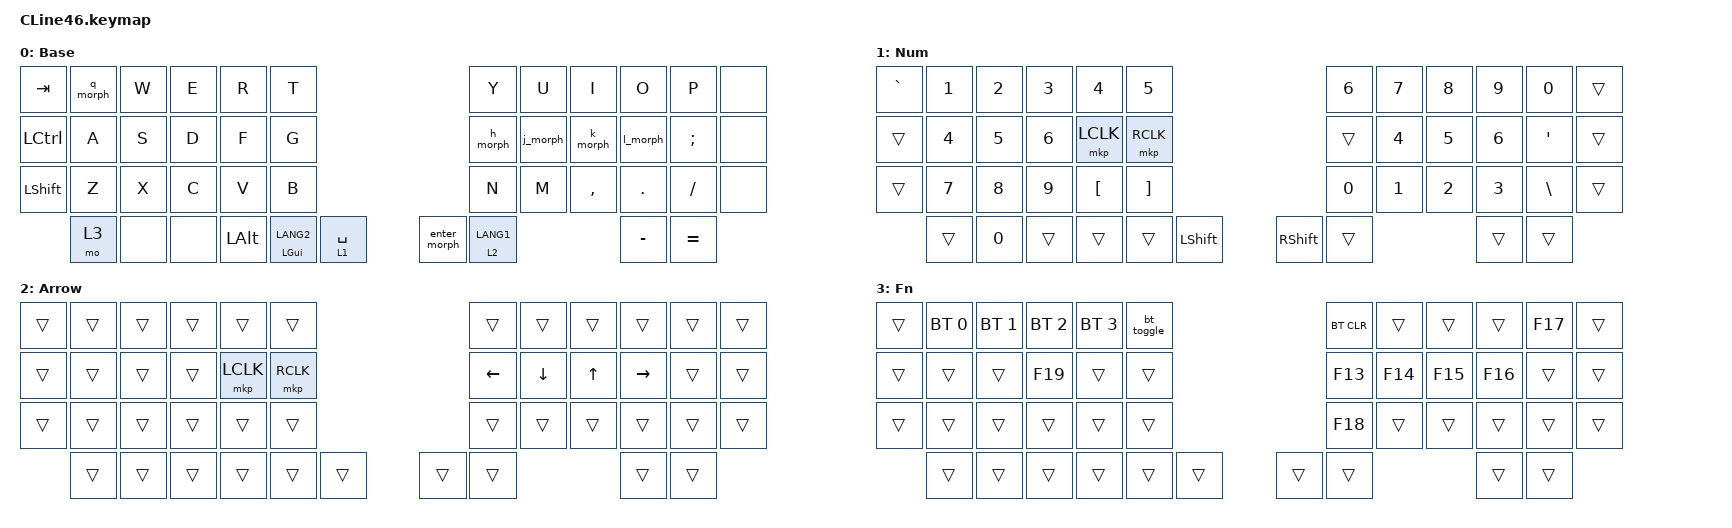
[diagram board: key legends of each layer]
#include <behaviors.dtsi>
#include <dt-bindings/zmk/bt.h>
#include <dt-bindings/zmk/keys.h>
#include <dt-bindings/zmk/pointing.h>

// hjkl 用 mod-morph: alt 押下中は alt+矢印(alt は keep-mods で残す)
#define ARROW_MORPH(name, tap, arrow)          \
    name##_morph: name##_morph {               \
        compatible = "zmk,behavior-mod-morph"; \
        #binding-cells = <0>;                  \
        bindings = <tap>, <&kp arrow>;         \
        mods = <(MOD_LALT)>;                   \
        keep-mods = <(MOD_LALT)>;              \
    };

&mt {
    flavor = "hold-preferred";
    quick-tap-ms = <0>;
    retro-tap;
    retro-tap-timeout-ms = <800>;
};

&lt {
    // デフォルトの tap-preferred だと tapping-term(200ms)保持しない限り
    // 必ず tap になり、高速な SPACE→クリック等が SPACE+キー化する。
    // balanced なら「保持中に他キーが押して離された」時点で即 hold 確定する。
    // ただし文字キー上の &lt 2 L は balanced だとロール誤爆するため
    // tap-preferred の &lt_l に退避している
    flavor = "balanced";
    retro-tap;
    retro-tap-timeout-ms = <2000>;
};

/ {
    behaviors {
        // q を 2 回タップで ESC
        td_q: td_q {
            compatible = "zmk,behavior-tap-dance";
            #binding-cells = <0>;
            tapping-term-ms = <200>;
            bindings = <&kp Q>, <&kp ESC>;
        };

        // 修飾キー押下中は tap-dance を経由せず即 Q を出す。
        // tap-dance は upstroke で確定しないため、Cmd+Q で Cmd を先に離すと mod が落ちる
        q_morph: q_morph {
            compatible = "zmk,behavior-mod-morph";
            #binding-cells = <0>;
            bindings = <&td_q>, <&kp Q>;
            mods = <(MOD_LCTL|MOD_LSFT|MOD_LALT|MOD_LGUI)>;
            keep-mods = <(MOD_LCTL|MOD_LSFT|MOD_LALT|MOD_LGUI)>;
        };

        // Cmd 押下中は H を無効化(Cmd+H = アプリを隠す を誤爆させない)
        h_nocmd: h_nocmd {
            compatible = "zmk,behavior-mod-morph";
            #binding-cells = <0>;
            bindings = <&kp H>, <&none>;
            mods = <(MOD_LGUI)>;
        };

        // hjkl morph into alt+arrows while ALT is held.
        ARROW_MORPH(h, &h_nocmd, LEFT)
        ARROW_MORPH(j, &kp J,   DOWN)
        ARROW_MORPH(k, &kp K,   UP)
        ARROW_MORPH(l, &lt_l 2 L, RIGHT)

        // L(文字キー)専用の layer-tap。グローバル &lt は balanced だが、
        // L だと "walk"/"self" 等の内側ロールで layer 2 (Arrow) に誤爆して
        // 矢印が出るため、L だけ tap-preferred を維持する
        lt_l: lt_l {
            compatible = "zmk,behavior-hold-tap";
            #binding-cells = <2>;
            flavor = "tap-preferred";
            tapping-term-ms = <200>;
            bindings = <&mo>, <&kp>;
            retro-tap;
            retro-tap-timeout-ms = <2000>;
        };

        // ENTER, but while LALT is held it morphs into SPACE
        // so &kp LALT + this key -> ⌥Space
        enter_morph: enter_morph {
            compatible = "zmk,behavior-mod-morph";
            #binding-cells = <0>;
            bindings = <&lt 1 ENTER>, <&kp SPACE>;
            mods = <(MOD_LALT)>;
            keep-mods = <(MOD_LALT)>;
        };

        // BT_SEL 0 と 1 を1キーでトグル
        bt_toggle: bt_toggle {
            compatible = "cline46,behavior-bt-toggle";
            #binding-cells = <0>;
            profile-a = <0>;
            profile-b = <1>;
        };
    };

    combos {
        compatible = "zmk,combos";

        // K + L -> backspace
        combo_backspace {
            timeout-ms = <50>;
            key-positions = <20 21>;
            bindings = <&kp BACKSPACE>;
            layers = <0 1 2>;
        };

        // A + S -> left ctrl
        combo_lctrl {
            timeout-ms = <50>;
            key-positions = <13 14>;
            bindings = <&kp LCTRL>;
            layers = <0 1 2>;
        };

        // Fn + 右隣 -> ctrl+alt+z (音声入力)
        combo_voice {
            timeout-ms = <50>;
            key-positions = <36 37>;
            bindings = <&kp LC(LA(Z))>;
            layers = <0>;
        };

        // K + L while holding &mo 3 (Fn layer) -> delete
        combo_delete {
            timeout-ms = <50>;
            key-positions = <20 21>;
            bindings = <&kp DELETE>;
            layers = <3>;
        };
    };

    keymap {
        compatible = "zmk,keymap";

        default_layer {
            display-name = "Base";
            bindings = <
&kp TAB     &q_morph  &kp W   &kp E   &kp R     &kp T                                      &kp Y        &kp U     &kp I      &kp O      &kp P      &none
&kp LCTRL   &kp A  &kp S   &kp D   &kp F     &kp G                                      &h_morph     &j_morph  &k_morph   &l_morph   &kp SEMI   &none
&kp LSHIFT  &kp Z  &kp X   &kp C   &kp V     &kp B                                      &kp N        &kp M     &kp COMMA  &kp DOT    &kp SLASH  &none
            &mo 3  &none   &none   &kp LALT  &mt LGUI LANG2  &lt 1 SPACE  &enter_morph  &lt 2 LANG1            &kp MINUS  &kp EQUAL
            >;
        };


        layer_1 {
            display-name = "Num";
            bindings = <
&kp GRAVE  &kp N1  &kp N2  &kp N3  &kp N4     &kp N5                             &kp N6    &kp N7          &kp N8        &kp N9    &kp N0    &trans
&trans     &kp N4  &kp N5  &kp N6  &mkp LCLK  &mkp RCLK                          &trans    &kp N4          &kp N5        &kp N6    &kp SQT   &trans
&trans     &kp N7  &kp N8  &kp N9  &kp LBKT   &kp RBKT                           &kp N0    &kp N1          &kp N2        &kp N3    &kp BSLH  &trans
           &trans  &kp N0  &trans  &trans     &trans     &kp LSHIFT  &kp RSHIFT  &trans                                  &trans    &trans
            >;
        };


        // trackball はこのレイヤーで scroll になる(CLine46_R.overlay の scroller)。
        layer_2 {
            display-name = "Arrow";
            bindings = <
&trans  &trans  &trans  &trans  &trans     &trans                        &trans    &trans    &trans  &trans     &trans     &trans
&trans  &trans  &trans  &trans  &mkp LCLK  &mkp RCLK                     &kp LEFT  &kp DOWN  &kp UP  &kp RIGHT  &trans     &trans
&trans  &trans  &trans  &trans  &trans     &trans                        &trans    &trans    &trans  &trans     &trans     &trans
        &trans  &trans  &trans  &trans     &trans      &trans    &trans  &trans                          &trans     &trans
            >;
        };


        layer_3 {
            display-name = "Fn";
            bindings = <
&trans         &bt BT_SEL 0  &bt BT_SEL 1  &bt BT_SEL 2  &bt BT_SEL 3  &bt_toggle                    &bt BT_CLR  &trans   &trans   &trans   &kp F17  &trans
&trans         &trans        &trans        &kp F19       &trans        &trans                        &kp F13     &kp F14  &kp F15  &kp F16  &trans   &trans
&trans         &trans        &trans        &trans        &trans        &trans                        &kp F18     &trans   &trans   &trans   &trans   &trans
               &trans        &trans        &trans        &trans        &trans        &trans  &trans  &trans                        &trans   &trans
            >;
        };


        // unused layer (layer_4, 5 are available)
        /*
        layer_4 {
            bindings = <
&trans  &trans  &trans  &trans  &trans  &trans                  &trans  &trans  &trans  &trans  &trans  &trans
&trans  &trans  &trans  &trans  &trans  &trans                  &trans  &trans  &trans  &trans  &trans  &trans
&trans  &trans  &trans  &trans  &trans  &trans                  &trans  &trans  &trans  &trans  &trans  &trans
        &trans  &trans  &trans  &trans  &trans  &trans  &trans  &trans                  &trans  &trans
            >;
        };
        */
    };
};
